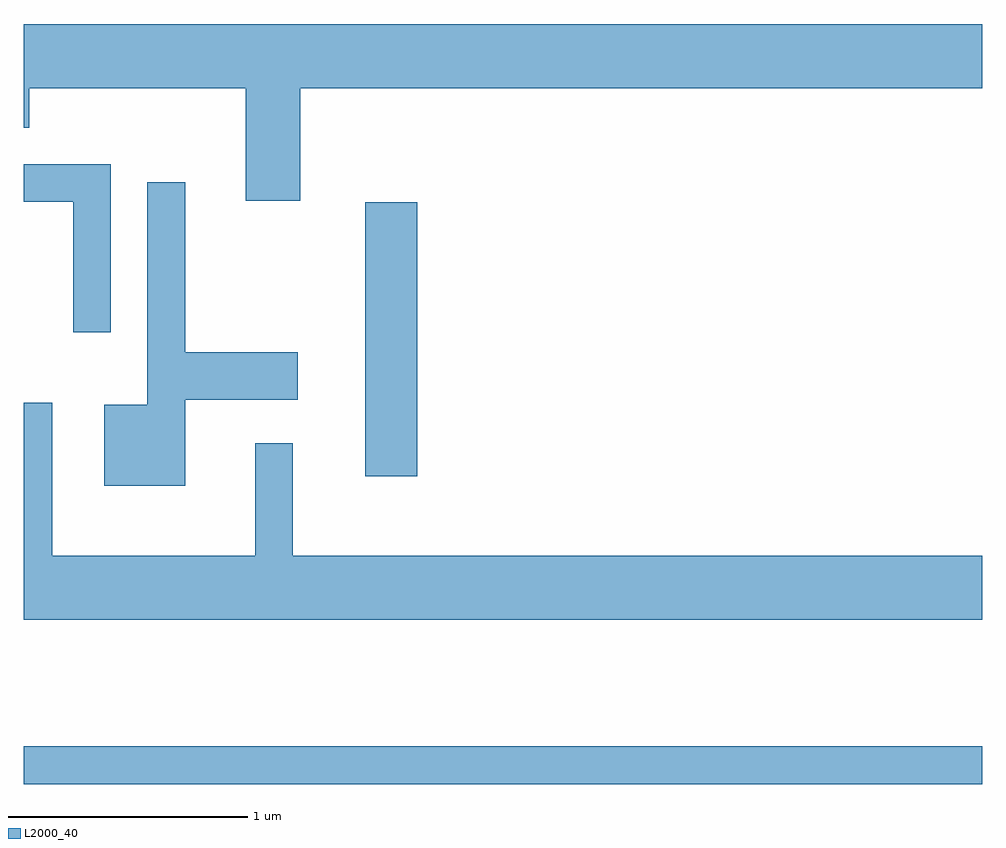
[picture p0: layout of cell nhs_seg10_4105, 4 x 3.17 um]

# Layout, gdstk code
import gdstk
lib = gdstk.Library(unit=1e-6, precision=1e-09)
def R(c, l, rs):  # rectangles x0, y0, x1, y1
    for r in rs: c.add(gdstk.rectangle(r[:2], r[2:], *l))
def P(c, l, *ps):  # polygons
    for p in ps: c.add(gdstk.Polygon(p, *l))
L2000_40 = (2000, 40)

nhs_seg10_4105 = lib.new_cell('nhs_seg10_4105')
R(nhs_seg10_4105, L2000_40, [(305.611,2168.731,309.611,2168.889), (307.036,2170.016,307.254,2171.159)])
P(nhs_seg10_4105, L2000_40, [(306.764,2171.636),(309.611,2171.636),(309.611,2171.904),(305.611,2171.904),(305.611,2171.471),(305.634,2171.471),(305.634,2171.636),(306.536,2171.636),(306.536,2171.166),(306.764,2171.166)],
  [(305.974,2171.319),(305.611,2171.319),(305.611,2171.161),(305.816,2171.161),(305.816,2170.618),(305.974,2170.618)],
  [(306.284,2170.336),(306.754,2170.336),(306.754,2170.534),(306.284,2170.534),(306.284,2171.243),(306.126,2171.243),(306.126,2170.314),(305.946,2170.314),(305.946,2169.976),(306.284,2169.976)],
  [(309.611,2169.684),(306.734,2169.684),(306.734,2170.153),(306.576,2170.153),(306.576,2169.684),(305.729,2169.684),(305.729,2170.323),(305.611,2170.323),(305.611,2169.416),(309.611,2169.416)])

lib.write_gds('nhs_seg10_4105.gds')
